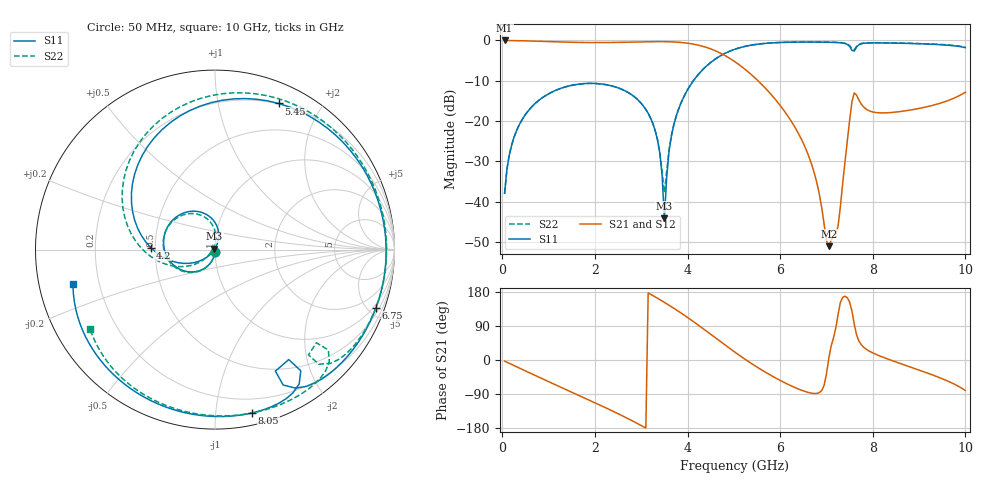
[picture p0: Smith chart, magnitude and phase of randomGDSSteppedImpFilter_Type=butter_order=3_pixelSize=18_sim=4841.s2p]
! freq	dB(S11)	phase(S11)	dB(S12)	phase(S12)
!  dB(S21)	phase(S21)	dB(S22)	phase(S22)
!S-par simulation data
#  GHz  S  DB  R 50
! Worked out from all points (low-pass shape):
!   200 points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, 50 MHz to 10 GHz, reference 50 ohm
!   highest |S21| = -0.01 dB at 50 MHz (marker M1); lowest = -51.0 dB at 7.05 GHz (marker M2)
!   |S21| within 3 dB of the highest: start of sweep to 4.685 GHz
!   lowest |S11| = -44.1 dB at 3.5 GHz (marker M3), VSWR 1.01, Z = 49.6 + j0.436 ohm
!   |S11| at or under -10 dB: start of sweep to 4.127 GHz
!   |S22| runs from -37.9 to -0.4 dB; largest |S21 - S12| = 0
!   S11 on the Smith chart (normalised r, x): 50 MHz: 1.00, -0.03; 4.2 GHz: 0.47, +0.01; 5.45 GHz: 0.20, +1.51; 6.75 GHz: 0.78, -5.60; 8.05 GHz: 0.09, -1.25; 10 GHz: 0.10, -0.12
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0.05  -37.89 -92.2  -0.01 -2.9  -0.01 -2.9  -37.91 -92.4
0.2  -26.01 -101.9  -0.03 -11.6  -0.03 -11.6  -26.01 -101.5
0.5  -18.35 -119.7  -0.10 -28.8  -0.10 -28.8  -18.35 -118.9
1.75  -10.71 169.0  -0.51 -98.8  -0.51 -98.8  -10.72 172.3
2.9  -14.43 100.3  -0.38 -166.4  -0.38 -166.4  -14.43 107.7
3.4  -27.82 69.0  -0.29 159.5  -0.29 159.5  -27.58 87.8
3.5  -44.12 135.0  -0.30 152.2  -0.30 152.2  -37.70 151.0
3.6  -27.57 -135.1  -0.33 144.6  -0.33 144.6  -27.15 -139.4
3.7  -21.13 -140.7  -0.37 136.9  -0.37 136.9  -21.00 -138.8
4.2  -8.90 178.1  -1.08 95.0  -1.08 95.0  -8.88 -173.8
4.65  -4.23 136.8  -2.81 54.2  -2.81 54.2  -4.22 147.0
5.05  -2.08 100.2  -5.49 18.3  -5.49 18.3  -2.07 112.0
5.45  -1.03 66.4  -9.22 -14.8  -9.22 -14.8  -1.03 79.3
6.05  -0.49 22.6  -16.86 -57.0  -16.86 -57.0  -0.48 36.5
6.7  -0.41 -17.1  -31.44 -88.0  -31.44 -88.0  -0.39 -2.6
6.75  -0.41 -19.9  -33.40 -88.5  -33.40 -88.5  -0.39 -5.4
7.05  -0.45 -36.2  -50.99 3.9  -50.99 3.9  -0.43 -21.6
7.25  -0.53 -47.2  -46.04 119.5  -46.04 119.5  -0.49 -32.4
7.6  -2.64 -56.1  -13.00 94.4  -13.00 94.4  -2.30 -42.6
8.05  -0.60 -77.3  -17.84 15.9  -17.84 15.9  -0.56 -63.1
8.35  -0.63 -90.5  -17.91 1.4  -17.91 1.4  -0.59 -76.0
10  -1.78 -166.3  -12.84 -80.5  -12.84 -80.5  -1.66 -147.4
